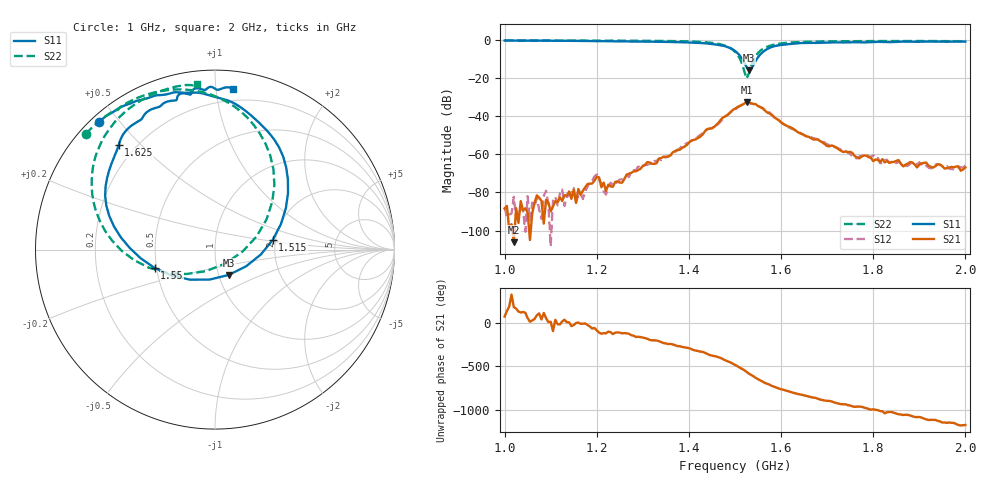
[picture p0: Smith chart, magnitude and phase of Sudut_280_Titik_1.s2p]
# Hz S RI R 50
! CMT, C1220, 16058040, 17.2.0/1
! Date: 14/08/2018 12:58:18
! Data: Format (Calibration Info)
! Freq  S11: Re/Im (F2)  S21: Re/Im (F2)  S12: Re/Im (F2)  S22: Re/Im (F2)
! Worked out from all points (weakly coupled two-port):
!   201 points, 1 GHz to 2 GHz, reference 50 ohm
!   highest |S21| = -32.74 dB at 1.525 GHz (marker M1); lowest = -106.1 dB at 1.02 GHz (marker M2)
!   lowest |S11| = -15.9 dB at 1.53 GHz (marker M3), VSWR 1.38, Z = 55.8 - j16.2 ohm
!   |S11| at or under -10 dB: 1.516 GHz to 1.548 GHz (31.91 MHz wide, 2.08 % of centre)
!   |S22| runs from -20.2 to -0.3 dB; largest |S21 - S12| = 0.00093
!   S11 on the Smith chart (normalised r, x): 1 GHz: 0.02, +0.44; 1.515 GHz: 1.93, +0.23; 1.55 GHz: 0.49, -0.11; 1.625 GHz: 0.14, +0.43; 2 GHz: 0.12, +1.11
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1e9  -0.6475 0.7118  1.13e-05 3.62e-05  2.94e-05 -2.76e-05  -0.7193 0.6456
1.02e9  -0.6266 0.7279  -4.98e-06 -6.65e-08  -7.23e-05 2.65e-05  -0.7049 0.6601
1.17e9  -0.4619 0.8187  0.00011 -1.89e-05  6.26e-05 -2.62e-05  -0.5769 0.7656
1.2e9  -0.4181 0.833  1.44e-05 -0.000256  -1.18e-05 -0.000297  -0.543 0.7775
1.21e9  -0.4051 0.8355  -7.97e-05 -0.000111  -5e-05 -0.000163  -0.5383 0.7814
1.215e9  -0.3979 0.837  -8.31e-05 -0.000161  -5.59e-05 -8.98e-05  -0.5353 0.7858
1.22e9  -0.3903 0.8389  -5.55e-05 -9.37e-05  3.81e-06 -8.72e-05  -0.5308 0.7909
1.23e9  -0.3737 0.8443  -4.14e-05 -0.000139  -3.75e-05 -0.000176  -0.5198 0.8001
1.335e9  -0.1902 0.8748  -0.000666 0.000395  -0.000601 0.000473  -0.36 0.8699
1.45e9  0.1919 0.7553  0.00462 -0.00132  0.00463 -0.00161  0.0463 0.8336
1.5e9  0.407 0.3151  -0.00833 -0.0133  -0.00786 -0.0125  0.3307 0.3619
1.515e9  0.3219 0.054  -0.0192 -0.00438  -0.0193 -0.00493  0.2312 0.0725
1.525e9  0.1729 -0.0933  -0.0215 0.00846  -0.0218 0.00844  0.0601 -0.0765
1.53e9  0.0765 -0.1411  -0.0167 0.0149  -0.0168 0.0149  -0.049 -0.1198
1.55e9  -0.3363 -0.1023  0.00531 0.0177  0.00465 0.0178  -0.4507 -0.0586
1.58e9  -0.6053 0.2445  0.0107 -0.000576  0.011 -0.000966  -0.6771 0.2655
1.625e9  -0.5367 0.5824  0.000865 -0.00468  0.000945 -0.00447  -0.6494 0.5623
1.67e9  -0.4217 0.7182  -0.0018 -0.00167  -0.00194 -0.00178  -0.5664 0.7011
1.765e9  -0.2399 0.8295  -0.000405 0.000724  -0.000424 0.000653  -0.4135 0.83
1.8e9  -0.2055 0.8591  1.43e-05 0.000661  0.00014 0.00093  -0.3626 0.8571
1.835e9  -0.1383 0.8634  0.000321 0.000503  0.000373 0.000469  -0.3153 0.8781
2e9  0.0979 0.8962  -8.96e-06 -0.000453  -3.62e-05 -0.000515  -0.0975 0.9224
